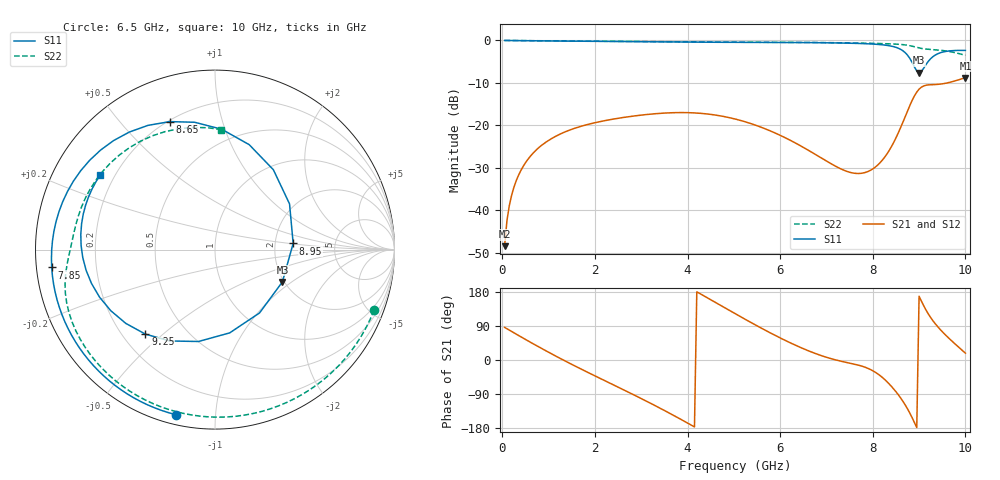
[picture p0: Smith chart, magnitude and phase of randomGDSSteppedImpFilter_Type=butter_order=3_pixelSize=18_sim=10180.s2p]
! freq	dB(S11)	phase(S11)	dB(S12)	phase(S12)
!  dB(S21)	phase(S21)	dB(S22)	phase(S22)
!S-par simulation data
#  GHz  S  DB  R 50
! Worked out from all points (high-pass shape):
!   200 points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, 50 MHz to 10 GHz, reference 50 ohm
!   highest |S21| = -8.81 dB at 10 GHz (marker M1); lowest = -48.5 dB at 50 MHz (marker M2)
!   |S21| within 3 dB of the highest: 8.976 GHz to end of sweep
!   lowest |S11| = -7.6 dB at 9 GHz (marker M3), VSWR 2.43, Z = 97.9 - j42.6 ohm
!   |S11| at or under -10 dB: nowhere
!   |S22| runs from -3.5 to 0.0 dB; largest |S21 - S12| = 0
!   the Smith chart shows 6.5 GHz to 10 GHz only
!   S11 on the Smith chart (normalised r, x): 6.5 GHz: 0.05, -0.79; 7.85 GHz: 0.04, -0.05; 8.65 GHz: 0.21, +0.69; 8.95 GHz: 2.53, +0.22; 9.25 GHz: 0.29, -0.44; 10 GHz: 0.15, +0.29
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0.05  -0.00 -4.2  -48.48 86.1  -48.48 86.1  -0.00 -3.1
0.2  -0.02 -16.5  -36.54 75.4  -36.54 75.4  -0.02 -12.1
0.5  -0.06 -40.7  -28.83 54.3  -28.83 54.3  -0.04 -30.1
1.1  -0.13 -87.1  -22.90 13.9  -22.90 13.9  -0.10 -65.0
1.75  -0.19 -133.7  -20.07 -26.8  -20.07 -26.8  -0.16 -100.8
2.55  -0.26 171.2  -18.26 -74.6  -18.26 -74.6  -0.23 -142.6
3.4  -0.34 110.0  -17.19 -126.7  -17.19 -126.7  -0.30 173.4
4.1  -0.40 56.0  -17.05 -173.2  -17.05 -173.2  -0.35 135.0
4.6  -0.43 17.3  -17.58 152.2  -17.58 152.2  -0.39 105.3
5.05  -0.44 -15.6  -18.57 120.8  -18.57 120.8  -0.40 76.7
5.85  -0.45 -67.3  -21.61 67.6  -21.61 67.6  -0.43 22.8
6.5  -0.49 -103.3  -25.19 29.9  -25.19 29.9  -0.46 -20.8
6.7  -0.51 -113.6  -26.46 20.0  -26.46 20.0  -0.48 -33.7
7.85  -0.77 -173.8  -31.07 -19.8  -31.07 -19.8  -0.64 -103.4
8.35  -1.23 149.5  -26.00 -62.6  -26.00 -62.6  -0.79 -133.4
8.65  -2.43 109.5  -19.29 -108.8  -19.29 -108.8  -0.99 -153.1
8.8  -4.22 72.0  -15.35 -140.1  -15.35 -140.1  -1.23 -163.8
8.95  -7.19 4.5  -12.16 -178.3  -12.16 -178.3  -1.63 -174.1
9  -7.61 -25.6  -11.48 168.3  -11.48 168.3  -1.77 -177.3
9.25  -4.29 -129.5  -10.43 112.0  -10.43 112.0  -2.11 166.2
9.55  -2.64 -176.6  -10.14 68.5  -10.14 68.5  -2.43 140.1
10  -2.35 147.1  -8.81 18.0  -8.81 18.0  -3.48 87.0
